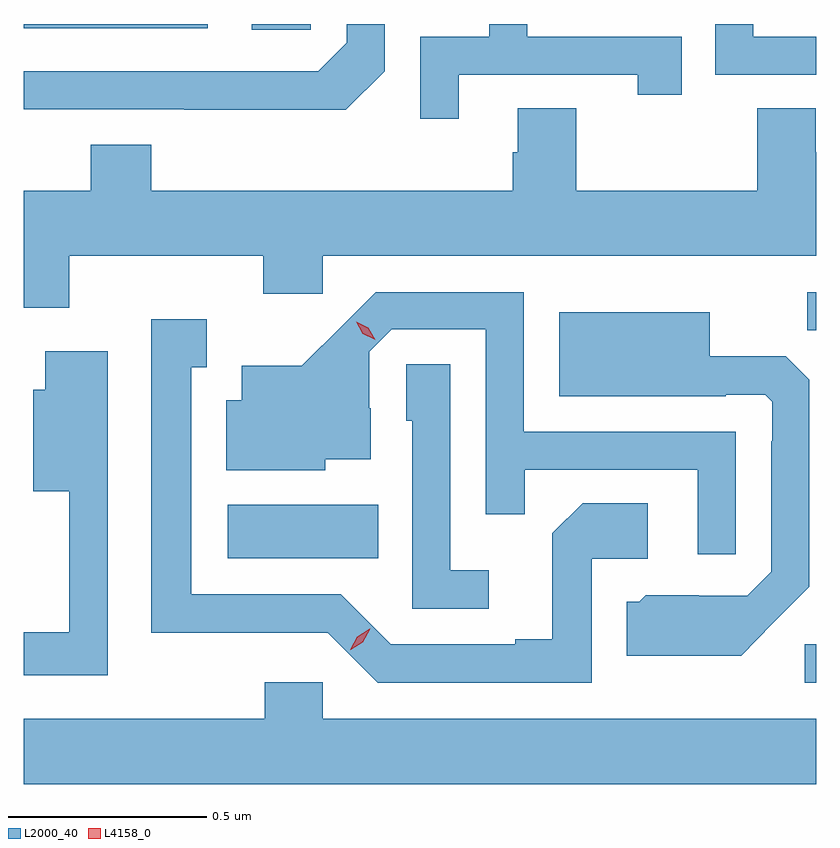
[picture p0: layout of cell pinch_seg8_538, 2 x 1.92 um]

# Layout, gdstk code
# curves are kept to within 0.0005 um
import gdstk
lib = gdstk.Library(unit=1e-6, precision=1e-09)
def R(c, l, rs):  # rectangles x0, y0, x1, y1
    for r in rs: c.add(gdstk.rectangle(r[:2], r[2:], *l))
def P(c, l, *ps):  # polygons
    for p in ps: c.add(gdstk.Polygon(p, *l))
L2000_40 = (2000, 40)
L4158_0 = (4158, 0)

pinch_seg8_538 = lib.new_cell('pinch_seg8_538')
R(pinch_seg8_538, L2000_40, [(133.059,1102.104,133.089,1102.2), (131.604,1102.418,131.984,1102.552), (133.066,1102.993,133.089,1103.088), (131.664,1103.751,131.814,1103.765), (131.089,1103.754,131.554,1103.765)])
P(pinch_seg8_538, L2000_40, [(133.089,1103.733),(132.93,1103.733),(132.93,1103.765),(132.834,1103.765),(132.834,1103.637),(133.089,1103.637)],
  [(132,1103.646),(132,1103.765),(131.904,1103.765),(131.904,1103.718),(131.832,1103.646),(131.089,1103.646),(131.089,1103.55),(131.494,1103.55),(131.494,1103.549),(131.902,1103.549)],
  [(132.187,1103.637),(132.638,1103.637),(132.638,1103.586),(132.749,1103.586),(132.749,1103.733),(132.36,1103.733),(132.36,1103.765),(132.264,1103.765),(132.264,1103.733),(132.09,1103.733),(132.09,1103.526),(132.187,1103.526)],
  [(131.204,1103.18),(131.693,1103.18),(131.693,1103.085),(131.844,1103.085),(131.844,1103.18),(133.089,1103.18),(133.089,1103.442),(133.087,1103.442),(133.087,1103.552),(132.94,1103.552),(132.94,1103.344),(132.483,1103.344),(132.483,1103.552),(132.335,1103.552),(132.335,1103.442),(132.323,1103.442),(132.323,1103.344),(131.411,1103.344),(131.411,1103.461),(131.258,1103.461),(131.258,1103.344),(131.089,1103.344),(131.089,1103.049),(131.204,1103.049)],
  [(132.885,1102.737),(132.351,1102.737),(132.351,1103.088),(131.978,1103.088),(131.791,1102.903),(131.639,1102.903),(131.639,1102.816),(131.6,1102.816),(131.6,1102.64),(131.85,1102.64),(131.85,1102.667),(131.965,1102.667),(131.965,1102.796),(131.961,1102.796),(131.961,1102.938),(132.018,1102.995),(132.255,1102.995),(132.255,1102.528),(132.353,1102.528),(132.353,1102.641),(132.789,1102.641),(132.789,1102.428),(132.885,1102.428)],
  [(132.979,1102.253),(133.071,1102.346),(133.071,1102.868),(133.012,1102.927),(132.82,1102.927),(132.82,1103.038),(132.44,1103.038),(132.44,1102.826),(132.86,1102.826),(132.86,1102.83),(132.96,1102.83),(132.978,1102.812),(132.978,1102.712),(132.975,1102.712),(132.975,1102.383),(132.915,1102.323),(132.792,1102.323),(132.792,1102.324),(132.658,1102.324),(132.642,1102.308),(132.611,1102.308),(132.611,1102.172),(132.899,1102.172)],
  [(132.522,1102.416),(132.664,1102.416),(132.664,1102.556),(132.499,1102.556),(132.423,1102.48),(132.423,1102.213),(132.329,1102.213),(132.329,1102.2),(132.015,1102.2),(131.889,1102.326),(131.512,1102.326),(131.512,1102.899),(131.551,1102.899),(131.551,1103.02),(131.411,1103.02),(131.411,1102.229),(131.634,1102.229),(131.634,1102.23),(131.856,1102.23),(131.982,1102.104),(132.522,1102.104)],
  [(131.301,1102.69),(131.302,1102.69),(131.302,1102.939),(131.144,1102.939),(131.144,1102.843),(131.114,1102.843),(131.114,1102.586),(131.204,1102.586),(131.204,1102.231),(131.089,1102.231),(131.089,1102.122),(131.301,1102.122)],
  [(132.262,1102.387),(132.165,1102.387),(132.165,1102.907),(132.054,1102.907),(132.054,1102.764),(132.069,1102.764),(132.069,1102.29),(132.262,1102.29)],
  [(133.089,1102.012),(131.844,1102.012),(131.844,1102.105),(131.698,1102.105),(131.698,1102.012),(131.089,1102.012),(131.089,1101.848),(133.089,1101.848)])
P(pinch_seg8_538, L4158_0, [(131.976,1102.968),(131.945,1102.984),(131.928,1103.014),(131.928,1103.014),(131.928,1103.014),(131.959,1102.999),(131.976,1102.969),(131.976,1102.968)],
  [(131.913,1102.187),(131.913,1102.187),(131.931,1102.22),(131.962,1102.239),(131.963,1102.239),(131.963,1102.239),(131.945,1102.206),(131.914,1102.187)])

lib.write_gds('pinch_seg8_538.gds')
